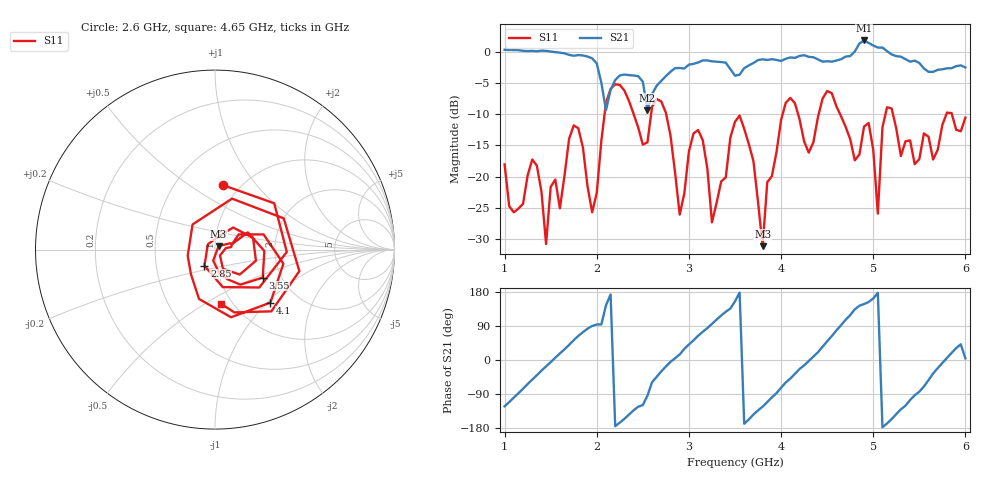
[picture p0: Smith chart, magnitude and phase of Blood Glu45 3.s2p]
! NanoVNA-App
! Date: 2024-03-21 11:50:01
! Start: 1GHz Stop: 6GHz Points: 101
! S-Parameter data: F S11 S21 S12 S22
# Hz S RI R 50
!	Frequency	S11_Real	S11_Imag	S21_Real	S21_Imag	S12_Real	S12_Imag	S22_Real	S22_Imag
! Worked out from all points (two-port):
!   101 points, 1 GHz to 6 GHz, reference 50 ohm
!   highest |S21| = 1.81 dB at 4.9 GHz (marker M1); lowest = -9.4 dB at 2.55 GHz (marker M2)
!   |S21| within 3 dB of the highest: start of sweep to 1.958 GHz; 4.651 GHz to 5.35 GHz (699 MHz wide, 14 % of centre)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
!   lowest |S11| = -31.1 dB at 3.8 GHz (marker M3), VSWR 1.06, Z = 52 + j2.01 ohm
!   |S11| at or under -10 dB: start of sweep to 2.085 GHz; 2.753 GHz to 4.017 GHz (1.264 GHz wide, 37.3 % of centre); 5.214 GHz to 5.794 GHz (579.5 MHz wide, 10.5 % of centre)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
!   S12 and S22 are empty: the file has one direction only
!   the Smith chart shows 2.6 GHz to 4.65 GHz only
!   S11 on the Smith chart (normalised r, x): 2.6 GHz: 0.83, +0.69; 2.85 GHz: 0.88, -0.16; 3.55 GHz: 1.61, -0.55; 4.1 GHz: 1.45, -1.05; 4.65 GHz: 0.89, -0.59
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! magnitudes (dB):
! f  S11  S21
! 1 GHz  -18.0  0.3
! 1.35 GHz  -18.2  0.1
! 1.45 GHz  -30.8  0.1
! 1.85 GHz  -15.4  -0.6
! 1.95 GHz  -25.7  -1.1
! 2.15 GHz  -6.0  -6.1
! 2.55 GHz  -14.5  -9.4
! 2.6 GHz  -8.8  -6.8
! 2.7 GHz  -8.0  -4.7
! 2.85 GHz  -19.4  -2.6
! 3.1 GHz  -12.5  -1.7
! 3.25 GHz  -27.3  -1.5
! 3.5 GHz  -11.2  -3.8
! 3.55 GHz  -10.2  -3.7
! 3.8 GHz  -31.1  -1.2
! 4.1 GHz  -7.4  -0.9
! 4.35 GHz  -14.5  -0.9
! 4.65 GHz  -10.3  -1.2
! 4.9 GHz  -12.0  1.8
! 5.05 GHz  -25.9  0.7
! 5.2 GHz  -9.1  -0.4
! 6 GHz  -10.6  -2.5
